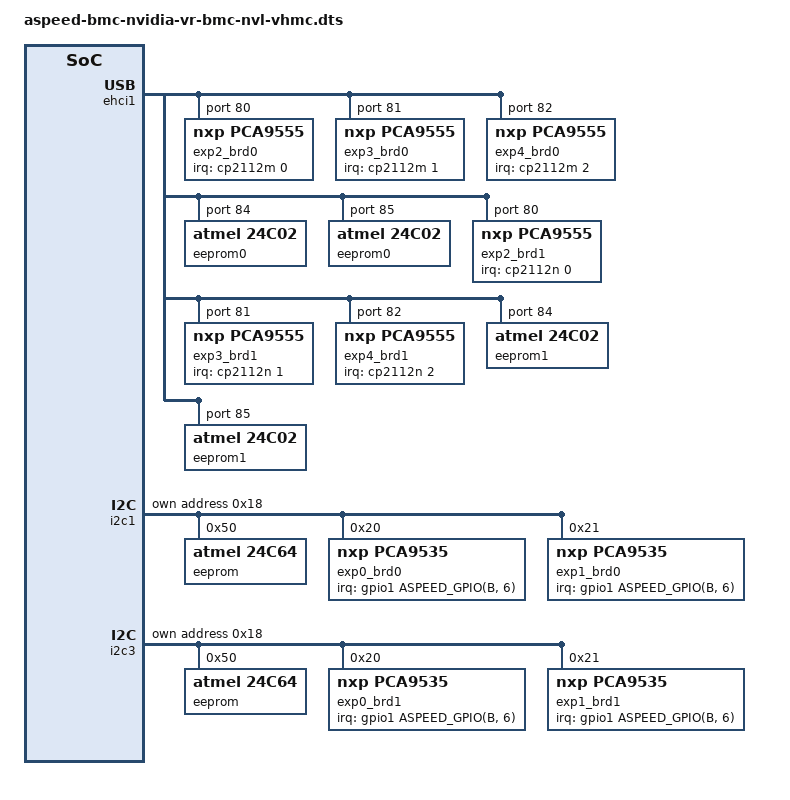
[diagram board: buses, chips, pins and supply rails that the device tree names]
// SPDX-License-Identifier: GPL-2.0+
/*
 * VR NVL BMC that runs the HMC software as a vHMC container instead of on a
 * physical HMC. The BMC takes over the HMC's devices: the I2C_MGMT1 buses to
 * the two HPM boards (&i2c1 for board 0, &i2c3 for board 1) and the HPM CP2112
 * USB-to-I2C bridges behind the HMC USB hub.
 */

#include "aspeed-bmc-nvidia-vr-bmc-nvl.dts"

/ {
	aliases {
		i2c82 = &i2c82;
		i2c83 = &i2c83;
	};
};

// USB 2.0 to HMC, on USB Port B
&ehci1 {
	hub@1 {
		hub@3 {
			reg = <3>;

			// HPM board 0 CP2112
			hub@1 {
				reg = <1>;
				device@1 {
					reg = <1>;
					cp2112m: interface@1 {
						reg = <1 1>;

						gpio-controller;
						interrupt-controller;
						#gpio-cells = <2>;
						#interrupt-cells = <2>;

						i2c82: i2c {
							#address-cells = <1>;
							#size-cells = <0>;

							exp2_brd0: pca9555@50 {
								compatible = "nxp,pca9555";
								reg = <0x50>;
								gpio-controller;
								#gpio-cells = <2>;

								#address-cells = <1>;
								#size-cells = <0>;
								interrupt-controller;
								#interrupt-cells = <2>;
								interrupt-parent = <&cp2112m>;
								interrupts = <0 IRQ_TYPE_LEVEL_LOW>;

								gpio-line-names =
									"BRD0_GPU0_THERM_OVERT_L-I",
									"BRD0_GPU0_AP_BOOT_COMPLETE-I",
									"BRD0_GPU0_RECOVERY-O",
									"BRD0_GPU0_MFG_BS_TEST-O",
									"BRD0_GPU0_STRAP4_GPU_MOD_ID-I",
									"BRD0_GPU0_STRAP_NVS_PRSNT-I",
									"BRD0_GPU0_STRAP5_GPU_MOD_ID-I",
									"BRD0_GPU0_IROT_ERROR_L-I",
									"BRD0_GPU0_THERM_ALERT_L-I",
									"BRD0_GPU0_STRAP_CPLD_PRSNT-I",
									"BRD0_MCU_THERM_OVERT_L-I",
									"BRD0_GPU_MCU_OK-I",
									"BRD0_MCU_HEARTBEAT-I",
									"BRD0_MCU_THERM_WARN_L-I",
									"BRD0_GLOBAL_WP-I",
									"BRD0_MCU_PWR_BRAKE_L-I";
							};

							exp3_brd0: pca9555@51 {
								compatible = "nxp,pca9555";
								reg = <0x51>;
								gpio-controller;
								#gpio-cells = <2>;

								#address-cells = <1>;
								#size-cells = <0>;
								interrupt-controller;
								#interrupt-cells = <2>;
								interrupt-parent = <&cp2112m>;
								interrupts = <1 IRQ_TYPE_LEVEL_LOW>;

								gpio-line-names =
									"BRD0_GPU1_THERM_OVERT_L-I",
									"BRD0_GPU1_AP_BOOT_COMPLETE-I",
									"BRD0_GPU1_RECOVERY-O",
									"BRD0_GPU1_MFG_BS_TEST-O",
									"BRD0_GPU1_STRAP4_GPU_MOD_ID-I",
									"BRD0_GPU1_STRAP_NVS_PRSNT-I",
									"BRD0_GPU1_STRAP5_GPU_MOD_ID-I",
									"BRD0_GPU1_IROT_ERROR_L-I",
									"BRD0_GPU1_THERM_ALERT_L-I",
									"BRD0_GPU1_STRAP_CPLD_PRSNT-I",
									"BRD0_INA_CRITICAL_L-I",
									"BRD0_HSC_ALERT_L-I",
									"BRD0_HSCC_SMBUS_ALT_N-I",
									"BRD0_3V3_PGD-I",
									"BRD0_5V_PGD-I",
									"BRD0_BOARD_LOC-I";
							};

							exp4_brd0: pca9555@52 {
								compatible = "nxp,pca9555";
								reg = <0x52>;
								gpio-controller;
								#gpio-cells = <2>;

								#address-cells = <1>;
								#size-cells = <0>;
								interrupt-controller;
								#interrupt-cells = <2>;
								interrupt-parent = <&cp2112m>;
								interrupts = <2 IRQ_TYPE_LEVEL_LOW>;

								gpio-line-names =
									"BRD0_RUN_POWER_EN-I",
									"BRD0_RUN_POWER_PG-I",
									"BRD0_INA_WARN_L-I",
									"BRD0_MCU_RECOVERY_STATUS-I",
									"BRD0_MCU_USER_STRAP0-I",
									"BRD0_VDD_1V8_PGOOD-I",
									"BRD0_PWR_BRAKE_SOC_ACTIVE-I",
									"BRD0_PWR_BRAKE_BUSBAR_THERM_ACTIVE-I",
									"", "", "", "",
									"", "", "", "";
							};

							eeprom0@54 {
								compatible = "atmel,24c02";
								reg = <0x54>;
								read-only;
							};

							eeprom0@55 {
								compatible = "atmel,24c02";
								reg = <0x55>;
								read-only;
							};
						};
					};
				};
			};

			// HPM board 1 CP2112
			hub@2 {
				reg = <2>;
				device@1 {
					reg = <1>;
					cp2112n: interface@1 {
						reg = <1 1>;

						gpio-controller;
						interrupt-controller;
						#gpio-cells = <2>;
						#interrupt-cells = <2>;

						i2c83: i2c {
							#address-cells = <1>;
							#size-cells = <0>;

							exp2_brd1: pca9555@50 {
								compatible = "nxp,pca9555";
								reg = <0x50>;
								gpio-controller;
								#gpio-cells = <2>;

								#address-cells = <1>;
								#size-cells = <0>;
								interrupt-controller;
								#interrupt-cells = <2>;
								interrupt-parent = <&cp2112n>;
								interrupts = <0 IRQ_TYPE_LEVEL_LOW>;

								gpio-line-names =
									"BRD1_GPU2_THERM_OVERT_L-I",
									"BRD1_GPU2_AP_BOOT_COMPLETE-I",
									"BRD1_GPU2_RECOVERY-O",
									"BRD1_GPU2_MFG_BS_TEST-O",
									"BRD1_GPU2_STRAP4_GPU_MOD_ID-I",
									"BRD1_GPU2_STRAP_NVS_PRSNT-I",
									"BRD1_GPU2_STRAP5_GPU_MOD_ID-I",
									"BRD1_GPU2_IROT_ERROR_L-I",
									"BRD1_GPU2_THERM_ALERT_L-I",
									"BRD1_GPU2_STRAP_CPLD_PRSNT-I",
									"BRD1_MCU_THERM_OVERT_L-I",
									"BRD1_GPU_MCU_OK-I",
									"BRD1_MCU_HEARTBEAT-I",
									"BRD1_MCU_THERM_WARN_L-I",
									"BRD1_GLOBAL_WP-I",
									"BRD1_MCU_PWR_BRAKE_L-I";
							};

							exp3_brd1: pca9555@51 {
								compatible = "nxp,pca9555";
								reg = <0x51>;
								gpio-controller;
								#gpio-cells = <2>;

								#address-cells = <1>;
								#size-cells = <0>;
								interrupt-controller;
								#interrupt-cells = <2>;
								interrupt-parent = <&cp2112n>;
								interrupts = <1 IRQ_TYPE_LEVEL_LOW>;

								gpio-line-names =
									"BRD1_GPU3_THERM_OVERT_L-I",
									"BRD1_GPU3_AP_BOOT_COMPLETE-I",
									"BRD1_GPU3_RECOVERY-O",
									"BRD1_GPU3_MFG_BS_TEST-O",
									"BRD1_GPU3_STRAP4_GPU_MOD_ID-I",
									"BRD1_GPU3_STRAP_NVS_PRSNT-I",
									"BRD1_GPU3_STRAP5_GPU_MOD_ID-I",
									"BRD1_GPU3_IROT_ERROR_L-I",
									"BRD1_GPU3_THERM_ALERT_L-I",
									"BRD1_GPU3_STRAP_CPLD_PRSNT-I",
									"BRD1_INA_CRITICAL_L-I",
									"BRD1_HSC_ALERT_L-I",
									"BRD1_HSCC_SMBUS_ALT_N-I",
									"BRD1_3V3_PGD-I",
									"BRD1_5V_PGD-I",
									"BRD1_BOARD_LOC-I";
							};

							exp4_brd1: pca9555@52 {
								compatible = "nxp,pca9555";
								reg = <0x52>;
								gpio-controller;
								#gpio-cells = <2>;

								#address-cells = <1>;
								#size-cells = <0>;
								interrupt-controller;
								#interrupt-cells = <2>;
								interrupt-parent = <&cp2112n>;
								interrupts = <2 IRQ_TYPE_LEVEL_LOW>;

								gpio-line-names =
									"BRD1_RUN_POWER_EN-I",
									"BRD1_RUN_POWER_PG-I",
									"BRD1_INA_WARN_L-I",
									"BRD1_MCU_RECOVERY_STATUS-I",
									"BRD1_MCU_USER_STRAP0-I",
									"BRD1_VDD_1V8_PGOOD-I",
									"BRD1_PWR_BRAKE_SOC_ACTIVE-I",
									"BRD1_PWR_BRAKE_BUSBAR_THERM_ACTIVE-I",
									"", "", "", "",
									"", "", "", "";
							};

							eeprom1@54 {
								compatible = "atmel,24c02";
								reg = <0x54>;
								read-only;
							};

							eeprom1@55 {
								compatible = "atmel,24c02";
								reg = <0x55>;
								read-only;
							};
						};
					};
				};
			};
		};
	};
};

// I2C_MGMT1 to HPM board 0
&i2c1 {
	multi-master;
	mctp-controller;
	mctp-no-flows;
	i2c-retries = <30>;
	i2c-timeout-ms = <150>;

	// The vHMC reads the FRUs directly, and there is no physical HMC to
	// serve the remote FRU bridge, so drop the i2c-90 virtual mux.
	/delete-node/ bridge@54;

	// FRU
	eeprom@50 {
		compatible = "atmel,24c64";
		reg = <0x50>;
		read-only;
	};

	// MCTP to the HPM MCU
	mctp@18 {
		compatible = "mctp-i2c-controller";
		reg = <(0x18 | I2C_OWN_SLAVE_ADDRESS)>;

		/* NACK retry config */
		i2c-nack-retries = <32>;
		i2c-nack-retry-delay-us = <0>;
		i2c-nack-retry-addr = <0x52>;
	};

	// The driver is bound from userspace once standby power is up.
	exp0_brd0: tca9535@20 {
		compatible = "nxp,pca9535";
		reg = <0x20>;
		gpio-controller;
		#gpio-cells = <2>;
		interrupt-controller;
		#interrupt-cells = <2>;
		interrupt-parent = <&gpio1>;
		interrupts = <ASPEED_GPIO(B, 6) IRQ_TYPE_LEVEL_LOW>;

		gpio-line-names =
			"BRD0_MCU_RESET_L-O",
			"BRD0_MCU_RECOVERY_L-O",
			"BRD0_GPU_MCU_RESET_L_3V3-O",
			"BRD0_GPU_MCU_RECOVERY_L_3V3-O",
			"BRD0_THERM_OVERT_L-I",
			"BRD0_THERM_WARN_L-I",
			"BRD0_HMC_IST_PRE_RST_L-O",
			"BRD0_CPLD_READY-I",
			"BRD0_MODULE_PWR_GOOD-I",
			"BRD0_MCU_HMC_ALERT_L-I",
			"BRD0_USB_HMC_HUB_RST_L-O",
			"BRD0_HPM_MCU_OK-I",
			"BRD0_CPU0_SHDN_OK_L_3V3-I",
			"BRD0_CPLD_AUTH_FAIL_L-I",
			"BRD0_IST_SYS_RST_L-O",
			"BRD0_PWR_BRAKE_STATUS_L-I";
	};

	// The driver is bound from userspace once standby power is up.
	exp1_brd0: tca9535@21 {
		compatible = "nxp,pca9535";
		reg = <0x21>;
		gpio-controller;
		#gpio-cells = <2>;
		interrupt-controller;
		#interrupt-cells = <2>;
		interrupt-parent = <&gpio1>;
		interrupts = <ASPEED_GPIO(B, 6) IRQ_TYPE_LEVEL_LOW>;

		gpio-line-names =
			"BRD0_CPU_FORCED_RECOVERY_L-O",
			"BRD0_CPU_BOOT_DEV_SEL0-O",
			"BRD0_CPU_BOOT_DEV_SEL1-O",
			"BRD0_CPU_BOOT_DEV_SEL2-O",
			"BRD0_BOARD_ID_0-I",
			"BRD0_CPU_RECOVERY_TYPE0-O",
			"BRD0_CPU_RECOVERY_TYPE1-O",
			"BRD0_CPU_IST_BOOT_HMC-O",
			"BRD0_CPU_BOOT_CHAIN0-O",
			"BRD0_BOARD_ID_1-I",
			"BRD0_HMC_TO_MCU_I2C_EN-O",
			"BRD0_CPU_DIE_SEL0-O",
			"BRD0_CPU_DIE_SEL1-O",
			"BRD0_CPU_DIE_SEL2-O",
			"BRD0_CPU_BOOT_COMPLETE-I",
			"BRD0_IOX_JTAG_NVSEL-O";
	};
};

// I2C_MGMT1 to HPM board 1
&i2c3 {
	status = "okay";
	i2c-scl-clk-low-timeout-us = <32000>;
	i2c-tck-thddat-config = <0x0099EC00>;

	multi-master;
	mctp-controller;
	mctp-no-flows;
	i2c-retries = <30>;
	i2c-timeout-ms = <150>;

	// FRU
	eeprom@50 {
		compatible = "atmel,24c64";
		reg = <0x50>;
		read-only;
	};

	// MCTP to the HPM MCU
	mctp@18 {
		compatible = "mctp-i2c-controller";
		reg = <(0x18 | I2C_OWN_SLAVE_ADDRESS)>;

		/* NACK retry config */
		i2c-nack-retries = <32>;
		i2c-nack-retry-delay-us = <0>;
		i2c-nack-retry-addr = <0x52>;
	};

	// The driver is bound from userspace once standby power is up.
	exp0_brd1: tca9535@20 {
		compatible = "nxp,pca9535";
		reg = <0x20>;
		gpio-controller;
		#gpio-cells = <2>;
		interrupt-controller;
		#interrupt-cells = <2>;
		interrupt-parent = <&gpio1>;
		interrupts = <ASPEED_GPIO(B, 6) IRQ_TYPE_LEVEL_LOW>;

		gpio-line-names =
			"BRD1_MCU_RESET_L-O",
			"BRD1_MCU_RECOVERY_L-O",
			"BRD1_GPU_MCU_RESET_L_3V3-O",
			"BRD1_GPU_MCU_RECOVERY_L_3V3-O",
			"BRD1_THERM_OVERT_L-I",
			"BRD1_THERM_WARN_L-I",
			"BRD1_HMC_IST_PRE_RST_L-O",
			"BRD1_CPLD_READY-I",
			"BRD1_MODULE_PWR_GOOD-I",
			"BRD1_MCU_HMC_ALERT_L-I",
			"BRD1_USB_HMC_HUB_RST_L-O",
			"BRD1_HPM_MCU_OK-I",
			"BRD1_CPU0_SHDN_OK_L_3V3-I",
			"BRD1_CPLD_AUTH_FAIL_L-I",
			"BRD1_IST_SYS_RST_L-O",
			"BRD1_PWR_BRAKE_STATUS_L-I";
	};

	// The driver is bound from userspace once standby power is up.
	exp1_brd1: tca9535@21 {
		compatible = "nxp,pca9535";
		reg = <0x21>;
		gpio-controller;
		#gpio-cells = <2>;
		interrupt-controller;
		#interrupt-cells = <2>;
		interrupt-parent = <&gpio1>;
		interrupts = <ASPEED_GPIO(B, 6) IRQ_TYPE_LEVEL_LOW>;

		gpio-line-names =
			"BRD1_CPU_FORCED_RECOVERY_L-O",
			"BRD1_CPU_BOOT_DEV_SEL0-O",
			"BRD1_CPU_BOOT_DEV_SEL1-O",
			"BRD1_CPU_BOOT_DEV_SEL2-O",
			"BRD1_BOARD_ID_0-I",
			"BRD1_CPU_RECOVERY_TYPE0-O",
			"BRD1_CPU_RECOVERY_TYPE1-O",
			"BRD1_CPU_IST_BOOT_HMC-O",
			"BRD1_CPU_BOOT_CHAIN0-O",
			"BRD1_BOARD_ID_1-I",
			"BRD1_HMC_TO_MCU_I2C_EN-O",
			"BRD1_CPU_DIE_SEL0-O",
			"BRD1_CPU_DIE_SEL1-O",
			"BRD1_CPU_DIE_SEL2-O",
			"BRD1_CPU_BOOT_COMPLETE-I",
			"BRD1_IOX_JTAG_NVSEL-O";
	};
};
